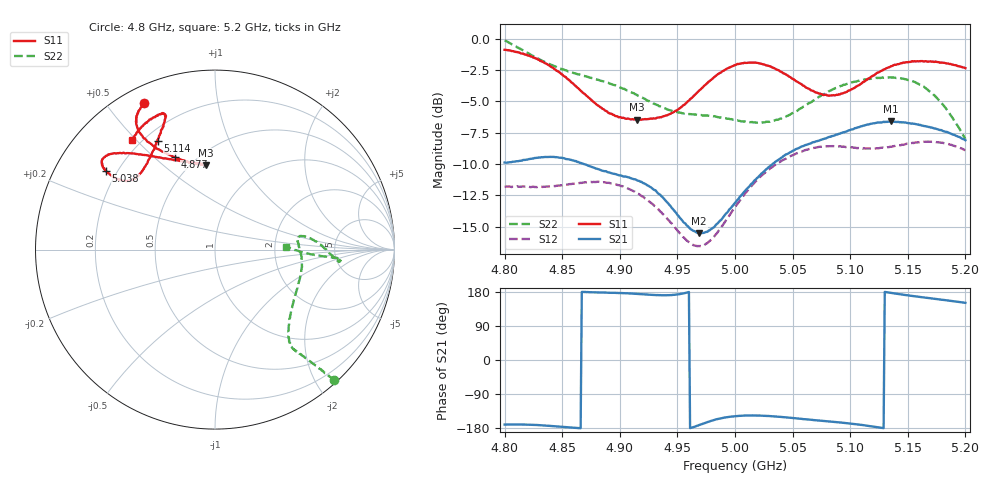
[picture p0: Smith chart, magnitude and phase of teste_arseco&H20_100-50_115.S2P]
! Network Analyzer HP8722D
! Hewlett-Packard
! Data name: Linha & Wilkinson
! Saver's name: Rodrigo Anjos
! Comments: Teste da utilização de aquisição
! continua pelo VNA HP8722D
! Time and date: 6/5/2025 13:31
!  Frequency  S11  S21  S12  S22
# HZ  S  MA R 50
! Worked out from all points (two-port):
!   401 points, 4.8 GHz to 5.2 GHz, reference 50 ohm
!   highest |S21| = -6.60 dB at 5.135 GHz (marker M1); lowest = -15.5 dB at 4.969 GHz (marker M2)
!   |S21| within 3 dB of the highest: 4.822 GHz to 4.853 GHz (31.71 MHz wide, 0.655 % of centre); 5.039 GHz to end of sweep
!   lowest |S11| = -6.5 dB at 4.915 GHz (marker M3), VSWR 2.81, Z = 29.1 + j35.5 ohm
!   |S11| at or under -10 dB: nowhere
!   |S22| runs from -8.0 to -0.1 dB; largest |S21 - S12| = 0.83
!   S11 on the Smith chart (normalised r, x): 4.8 GHz: 0.07, +0.63; 4.877 GHz: 0.39, +0.58; 5.038 GHz: 0.16, +0.31; 5.114 GHz: 0.25, +0.57; 5.2 GHz: 0.17, +0.49
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4.8e9  0.9045 115.8  0.3204 -170.5  0.2565 -86.2  0.9853 -47.5
4.819e9  0.8636 120.5  0.3292 -170.4  0.2564 -81.9  0.8828 -48.8
4.837e9  0.7919 122.8  0.3371 -173.5  0.2569 -76.0  0.8017 -49.8
4.867e9  0.6153 117.9  0.3183 179.6  0.2656 -67.4  0.715 -51.5
4.877e9  0.5609 113.5  0.3064 178.5  0.268 -66.4  0.6949 -51.9
4.9e9  0.4865 101.2  0.2846 176.8  0.2594 -66.6  0.6394 -50.2
4.915e9  0.4749 96.4  0.2719 174.4  0.2418 -68.4  0.5955 -46.4
4.934e9  0.485 99.3  0.2397 171.1  0.2073 -69.5  0.5385 -37.6
4.948e9  0.5148 107.7  0.204 172.1  0.1758 -66.6  0.5119 -28.4
4.969e9  0.6221 123.4  0.1671 -171.4  0.1484 -48.0  0.4966 -15.2
4.981e9  0.6968 129.9  0.1757 -159.2  0.1604 -34.0  0.4898 -8.8
5e9  0.7857 137.2  0.221 -148.2  0.2126 -21.5  0.4741 -0.3
5.019e9  0.8021 141.8  0.2774 -146.6  0.272 -18.5  0.4623 5.8
5.038e9  0.7491 144.3  0.3296 -149.7  0.3213 -18.5  0.4767 9.0
5.067e9  0.6208 142.0  0.3851 -158.0  0.3656 -20.6  0.5623 4.7
5.087e9  0.5947 133.5  0.4121 -163.8  0.3723 -23.6  0.6353 -1.4
5.114e9  0.6836 117.9  0.4532 -173.2  0.3644 -26.6  0.6894 -5.4
5.134e9  0.7705 111.2  0.4662 177.9  0.3696 -28.7  0.7012 -4.9
5.135e9  0.7753 111.2  0.4675 177.4  0.3709 -28.8  0.7014 -4.7
5.163e9  0.8143 113.0  0.4499 165.4  0.3873 -35.6  0.6461 -3.7
5.18e9  0.8026 119.0  0.4294 159.0  0.3843 -40.9  0.5493 -2.9
5.2e9  0.7637 127.2  0.3934 150.8  0.359 -46.3  0.3981 2.2
